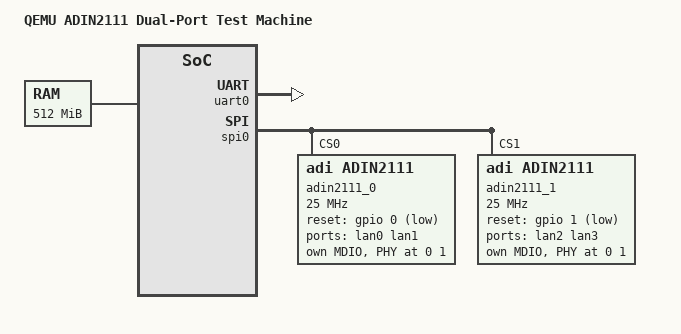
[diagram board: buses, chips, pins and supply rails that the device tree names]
/dts-v1/;

/ {
    compatible = "linux,dummy-virt";
    #address-cells = <2>;
    #size-cells = <1>;
    model = "QEMU ADIN2111 Dual-Port Test Machine";

    chosen {
        bootargs = "console=ttyAMA0 root=/dev/ram0 rw init=/sbin/init earlycon";
        stdout-path = &uart0;
    };

    memory@40000000 {
        device_type = "memory";
        reg = <0x0 0x40000000 0x20000000>;
    };

    cpus {
        #address-cells = <1>;
        #size-cells = <0>;

        cpu@0 {
            device_type = "cpu";
            compatible = "arm,cortex-a15";
            reg = <0>;
        };
    };

    timer {
        compatible = "arm,armv7-timer";
        interrupts = <1 13 0xf08>,
                     <1 14 0xf08>,
                     <1 11 0xf08>,
                     <1 10 0xf08>;
        clock-frequency = <100000000>;
    };

    soc {
        #address-cells = <2>;
        #size-cells = <1>;
        compatible = "simple-bus";
        ranges;

        gic: interrupt-controller@8000000 {
            compatible = "arm,cortex-a15-gic";
            #interrupt-cells = <3>;
            #address-cells = <0>;
            interrupt-controller;
            reg = <0x0 0x08000000 0x10000>,
                  <0x0 0x08010000 0x10000>;
        };

        uart0: uart@9000000 {
            compatible = "arm,pl011", "arm,primecell";
            reg = <0x0 0x09000000 0x1000>;
            interrupts = <0 1 4>;
            clocks = <&pclk>, <&pclk>;
            clock-names = "uartclk", "apb_pclk";
        };

        spi0: spi@9060000 {
            compatible = "arm,pl022", "arm,primecell";
            reg = <0x0 0x09060000 0x1000>;
            interrupts = <0 10 4>;
            clocks = <&pclk>;
            clock-names = "apb_pclk";
            #address-cells = <1>;
            #size-cells = <0>;
            status = "okay";

            adin2111_0: ethernet@0 {
                compatible = "adi,adin2111";
                reg = <0>;
                spi-max-frequency = <25000000>;
                spi-cpha;
                spi-cpol;
                
                interrupt-parent = <&gic>;
                interrupts = <0 48 4>;
                
                /* Reset GPIO for first device */
                reset-gpios = <&gpio 0 1>;
                
                /* Main device MAC address */
                mac-address = [52 54 00 12 34 55];
                
                /* Port configuration for first ADIN2111 */
                ethernet-ports {
                    #address-cells = <1>;
                    #size-cells = <0>;
                    
                    port@0 {
                        reg = <0>;
                        label = "lan0";
                        phy-mode = "rmii";
                        phy-handle = <&phy0_0>;
                        local-mac-address = [52 54 00 12 34 56];
                    };
                    
                    port@1 {
                        reg = <1>;
                        label = "lan1";
                        phy-mode = "rmii";
                        phy-handle = <&phy0_1>;
                        local-mac-address = [52 54 00 12 34 57];
                    };
                };
                
                /* PHY definitions for first device */
                mdio {
                    #address-cells = <1>;
                    #size-cells = <0>;
                    
                    phy0_0: ethernet-phy@0 {
                        reg = <0>;
                        compatible = "ethernet-phy-ieee802.3-c22";
                        max-speed = <100>;
                    };
                    
                    phy0_1: ethernet-phy@1 {
                        reg = <1>;
                        compatible = "ethernet-phy-ieee802.3-c22";
                        max-speed = <100>;
                    };
                };
            };

            adin2111_1: ethernet@1 {
                compatible = "adi,adin2111";
                reg = <1>;
                spi-max-frequency = <25000000>;
                spi-cpha;
                spi-cpol;
                
                interrupt-parent = <&gic>;
                interrupts = <0 49 4>;
                
                /* Reset GPIO for second device */
                reset-gpios = <&gpio 1 1>;
                
                /* Main device MAC address */
                mac-address = [52 54 00 12 34 5A];
                
                /* Port configuration for second ADIN2111 */
                ethernet-ports {
                    #address-cells = <1>;
                    #size-cells = <0>;
                    
                    port@0 {
                        reg = <0>;
                        label = "lan2";
                        phy-mode = "rmii";
                        phy-handle = <&phy1_0>;
                        local-mac-address = [52 54 00 12 34 5B];
                    };
                    
                    port@1 {
                        reg = <1>;
                        label = "lan3";
                        phy-mode = "rmii";
                        phy-handle = <&phy1_1>;
                        local-mac-address = [52 54 00 12 34 59];
                    };
                };
                
                /* PHY definitions for second device */
                mdio {
                    #address-cells = <1>;
                    #size-cells = <0>;
                    
                    phy1_0: ethernet-phy@0 {
                        reg = <0>;
                        compatible = "ethernet-phy-ieee802.3-c22";
                        max-speed = <100>;
                    };
                    
                    phy1_1: ethernet-phy@1 {
                        reg = <1>;
                        compatible = "ethernet-phy-ieee802.3-c22";
                        max-speed = <100>;
                    };
                };
            };
        };

        /* Second SPI controller for testing multiple devices */
        spi1: spi@9070000 {
            compatible = "arm,pl022", "arm,primecell";
            reg = <0x0 0x09070000 0x1000>;
            interrupts = <0 11 4>;
            clocks = <&pclk>;
            clock-names = "apb_pclk";
            #address-cells = <1>;
            #size-cells = <0>;
            status = "disabled"; /* Disabled by default, can be enabled for advanced testing */
        };

        gpio: gpio@9030000 {
            compatible = "arm,pl061", "arm,primecell";
            reg = <0x0 0x09030000 0x1000>;
            interrupts = <0 7 4>;
            clocks = <&pclk>;
            clock-names = "apb_pclk";
            gpio-controller;
            #gpio-cells = <2>;
            interrupt-controller;
            #interrupt-cells = <2>;
        };
    };

    clocks {
        pclk: pclk {
            compatible = "fixed-clock";
            #clock-cells = <0>;
            clock-frequency = <24000000>;
            clock-output-names = "clk24mhz";
        };
    };

    aliases {
        serial0 = &uart0;
        ethernet0 = &adin2111_0;
        ethernet1 = &adin2111_1;
        spi0 = &spi0;
        spi1 = &spi1;
    };
};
